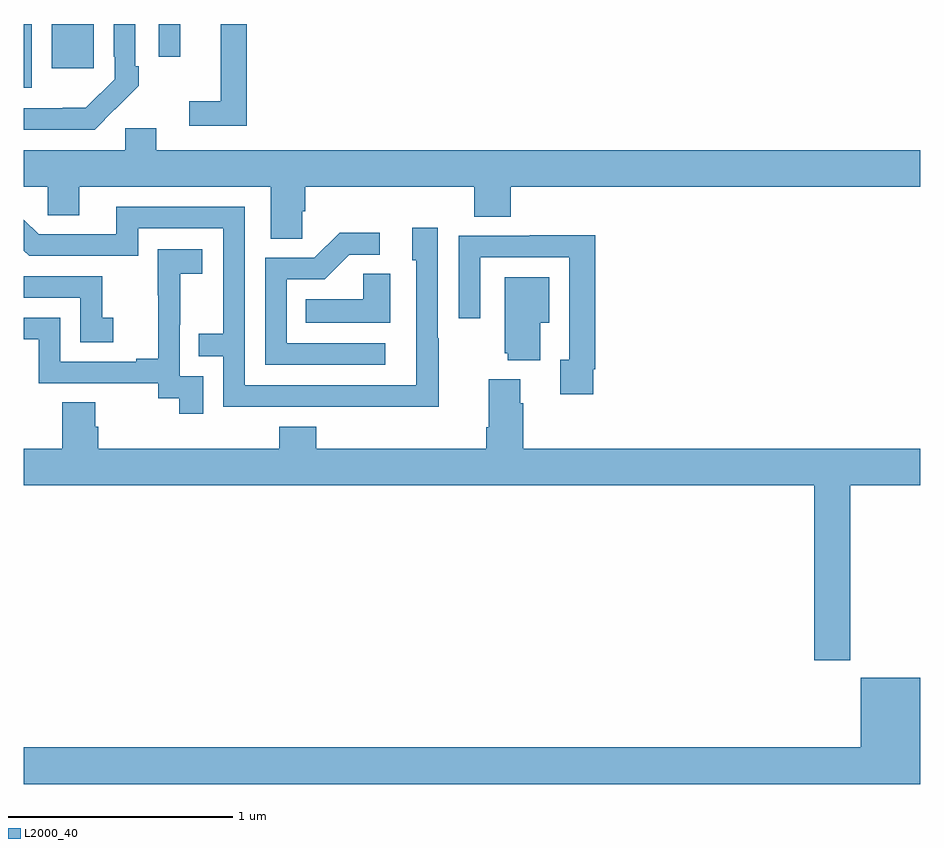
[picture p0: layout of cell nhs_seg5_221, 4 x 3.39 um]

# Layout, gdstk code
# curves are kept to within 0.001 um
import gdstk
lib = gdstk.Library(unit=1e-6, precision=1e-09)
def R(c, l, rs):  # rectangles x0, y0, x1, y1
    for r in rs: c.add(gdstk.rectangle(r[:2], r[2:], *l))
def P(c, l, *ps):  # polygons
    for p in ps: c.add(gdstk.Polygon(p, *l))
L2000_40 = (2000, 40)

nhs_seg5_221 = lib.new_cell('nhs_seg5_221')
R(nhs_seg5_221, L2000_40, [(123,878.514,123.036,878.799), (123.125,878.601,123.313,878.799), (123.603,878.652,123.699,878.799)])
P(nhs_seg5_221, L2000_40, [(123.995,878.799),(123.878,878.799),(123.878,878.455),(123.738,878.455),(123.738,878.346),(123.995,878.346)],
  [(123.407,878.419),(123.408,878.418),(123.513,878.523),(123.513,878.611),(123.498,878.611),(123.498,878.799),(123.402,878.799),(123.402,878.653),(123.405,878.653),(123.405,878.553),(123.277,878.425),(123,878.424),(123,878.328),(123.316,878.328)],
  [(124.242,877.963),(124.256,877.963),(124.256,878.072),(125.009,878.072),(125.009,877.939),(125.174,877.939),(125.174,878.072),(127,878.072),(127,878.236),(123.592,878.236),(123.592,878.334),(123.453,878.334),(123.453,878.236),(123,878.236),(123,878.072),(123.108,878.072),(123.108,877.945),(123.247,877.945),(123.247,878.072),(124.103,878.072),(124.103,877.84),(124.242,877.84)],
  [(124.851,877.397),(124.848,877.397),(124.848,877.891),(124.733,877.891),(124.733,877.746),(124.752,877.746),(124.752,877.188),(123.987,877.188),(123.987,877.983),(123.413,877.983),(123.413,877.86),(123.066,877.86),(123,877.926),(123,877.788),(123.024,877.764),(123.51,877.764),(123.51,877.887),(123.891,877.887),(123.891,877.418),(123.781,877.418),(123.781,877.317),(123.891,877.317),(123.891,877.092),(124.851,877.091)],
  [(124.612,877.374),(124.173,877.374),(124.173,877.659),(124.342,877.659),(124.453,877.77),(124.588,877.77),(124.588,877.868),(124.409,877.868),(124.296,877.755),(124.077,877.755),(124.077,877.278),(124.612,877.278)],
  [(125.542,877.258),(125.549,877.258),(125.549,877.856),(125.257,877.856),(125.257,877.854),(124.941,877.854),(124.941,877.485),(125.037,877.485),(125.037,877.758),(125.433,877.758),(125.433,877.302),(125.393,877.302),(125.393,877.146),(125.542,877.146)],
  [(123.801,877.227),(123.696,877.227),(123.696,877.457),(123.698,877.457),(123.698,877.685),(123.796,877.685),(123.796,877.795),(123.598,877.795),(123.598,877.589),(123.599,877.589),(123.599,877.306),(123.503,877.306),(123.503,877.293),(123.162,877.293),(123.162,877.488),(123,877.488),(123,877.392),(123.066,877.392),(123.066,877.197),(123.6,877.197),(123.6,877.129),(123.693,877.129),(123.693,877.059),(123.801,877.059)],
  [(124.636,877.685),(124.515,877.685),(124.515,877.57),(124.258,877.57),(124.258,877.466),(124.636,877.466)],
  [(123.4,877.489),(123.351,877.489),(123.351,877.674),(123,877.674),(123,877.578),(123.252,877.578),(123.252,877.38),(123.4,877.38)],
  [(125.305,877.466),(125.344,877.466),(125.344,877.669),(125.147,877.669),(125.147,877.329),(125.159,877.329),(125.159,877.298),(125.305,877.298)],
  [(126.687,876.74),(127,876.74),(127,876.904),(125.228,876.904),(125.228,877.106),(125.215,877.106),(125.215,877.213),(125.075,877.213),(125.075,877),(125.063,877),(125.063,876.904),(124.304,876.904),(124.304,877.003),(124.139,877.003),(124.139,876.904),(123.332,876.904),(123.332,877.002),(123.319,877.002),(123.319,877.112),(123.172,877.112),(123.172,876.904),(123,876.904),(123,876.74),(126.527,876.74),(126.527,875.961),(126.687,875.961)],
  [(127,875.881),(126.734,875.881),(126.734,875.572),(123,875.572),(123,875.408),(127,875.408)])

lib.write_gds('nhs_seg5_221.gds')
